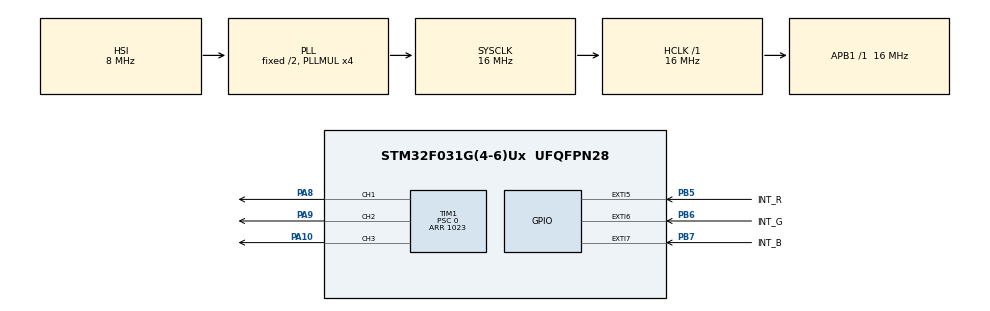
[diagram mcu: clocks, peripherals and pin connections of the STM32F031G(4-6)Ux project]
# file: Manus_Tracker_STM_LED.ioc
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Dma.Request0=TIM3_CH1/TRIG
Dma.Request1=TIM3_CH3
Dma.Request2=TIM3_CH4/UP
Dma.TIM3_CH1/TRIG.0.Direction=DMA_MEMORY_TO_PERIPH
Dma.TIM3_CH1/TRIG.0.Instance=DMA1_Channel4
Dma.TIM3_CH1/TRIG.0.MemDataAlignment=DMA_MDATAALIGN_WORD
Dma.TIM3_CH1/TRIG.0.MemInc=DMA_MINC_ENABLE
Dma.TIM3_CH1/TRIG.0.Mode=DMA_CIRCULAR
Dma.TIM3_CH1/TRIG.0.PeriphDataAlignment=DMA_PDATAALIGN_WORD
Dma.TIM3_CH1/TRIG.0.PeriphInc=DMA_PINC_DISABLE
Dma.TIM3_CH1/TRIG.0.Priority=DMA_PRIORITY_HIGH
Dma.TIM3_CH3.1.Direction=DMA_MEMORY_TO_PERIPH
Dma.TIM3_CH3.1.Instance=DMA1_Channel2
Dma.TIM3_CH3.1.MemDataAlignment=DMA_MDATAALIGN_WORD
Dma.TIM3_CH3.1.MemInc=DMA_MINC_ENABLE
Dma.TIM3_CH3.1.Mode=DMA_CIRCULAR
Dma.TIM3_CH3.1.PeriphDataAlignment=DMA_PDATAALIGN_WORD
Dma.TIM3_CH3.1.PeriphInc=DMA_PINC_DISABLE
Dma.TIM3_CH3.1.Priority=DMA_PRIORITY_HIGH
Dma.TIM3_CH4/UP.2.Direction=DMA_MEMORY_TO_PERIPH
Dma.TIM3_CH4/UP.2.Instance=DMA1_Channel3
Dma.TIM3_CH4/UP.2.MemDataAlignment=DMA_MDATAALIGN_WORD
Dma.TIM3_CH4/UP.2.MemInc=DMA_MINC_ENABLE
Dma.TIM3_CH4/UP.2.Mode=DMA_CIRCULAR
Dma.TIM3_CH4/UP.2.PeriphDataAlignment=DMA_PDATAALIGN_WORD
Dma.TIM3_CH4/UP.2.PeriphInc=DMA_PINC_DISABLE
Dma.TIM3_CH4/UP.2.Priority=DMA_PRIORITY_HIGH
Mcu.Family=STM32F0
Mcu.Name=STM32F031G(4-6)Ux
Mcu.Package=UFQFPN28
NVIC.DMA1_Channel2_3_IRQn=true\:0\:0\:false\:false\:true\:false\:true
NVIC.DMA1_Channel4_5_IRQn=true\:0\:0\:false\:false\:true\:false\:true
NVIC.EXTI4_15_IRQn=true\:0\:0\:false\:false\:true\:true\:true
NVIC.TIM14_IRQn=true\:0\:0\:false\:false\:true\:true\:true
PA10.Signal=S_TIM1_CH3
PA13.Mode=Serial_Wire
PA13.Signal=SYS_SWDIO
PA14.Mode=Serial_Wire
PA14.Signal=SYS_SWCLK
PA8.Signal=S_TIM1_CH1
PA9.Signal=S_TIM1_CH2
PB5.GPIO_Label=INT_R
PB5.GPIO_ModeDefaultEXTI=GPIO_MODE_IT_RISING_FALLING
PB5.GPIO_PuPd=GPIO_PULLUP
PB5.Signal=GPXTI5
PB6.GPIO_Label=INT_G
PB6.GPIO_ModeDefaultEXTI=GPIO_MODE_IT_RISING_FALLING
PB6.GPIO_PuPd=GPIO_PULLUP
PB6.Signal=GPXTI6
PB7.GPIO_Label=INT_B
PB7.GPIO_ModeDefaultEXTI=GPIO_MODE_IT_RISING_FALLING
PB7.GPIO_PuPd=GPIO_PULLUP
PB7.Signal=GPXTI7
ProjectManager.HeapSize=0x200
ProjectManager.StackSize=0x400
ProjectManager.TargetToolchain=Makefile
RCC.AHBFreq_Value=16000000
RCC.APB1Freq_Value=16000000
RCC.APB1TimFreq_Value=16000000
RCC.HCLKFreq_Value=16000000
RCC.PLLMUL=RCC_PLL_MUL4
RCC.SYSCLKFreq_VALUE=16000000
RCC.SYSCLKSource=RCC_SYSCLKSOURCE_PLLCLK
SH.S_TIM1_CH1.0=TIM1_CH1,PWM Generation1 CH1
SH.S_TIM1_CH2.0=TIM1_CH2,PWM Generation2 CH2
SH.S_TIM1_CH3.0=TIM1_CH3,PWM Generation3 CH3
TIM1.AutoReloadPreload=TIM_AUTORELOAD_PRELOAD_ENABLE
TIM1.Channel-PWM\ Generation1\ CH1=TIM_CHANNEL_1
TIM1.Channel-PWM\ Generation2\ CH2=TIM_CHANNEL_2
TIM1.Channel-PWM\ Generation3\ CH3=TIM_CHANNEL_3
TIM1.OCIdleState_1=TIM_OCIDLESTATE_SET
TIM1.OCIdleState_2=TIM_OCIDLESTATE_SET
TIM1.OCIdleState_3=TIM_OCIDLESTATE_SET
TIM1.OCPolarity_1=TIM_OCPOLARITY_HIGH
TIM1.OCPolarity_2=TIM_OCPOLARITY_HIGH
TIM1.OCPolarity_3=TIM_OCPOLARITY_HIGH
TIM1.Period=1023
TIM1.Prescaler=0
TIM14.Channel=TIM_CHANNEL_1
TIM14.Period=500-1
TIM14.Prescaler=16000
TIM3.AutoReloadPreload=TIM_AUTORELOAD_PRELOAD_ENABLE
TIM3.Channel-Output\ Compare1\ No\ Output=TIM_CHANNEL_1
TIM3.Channel-Output\ Compare3\ No\ Output=TIM_CHANNEL_3
TIM3.Channel-Output\ Compare4\ No\ Output=TIM_CHANNEL_4
TIM3.Period=9600-1
VP_TIM14_VS_ClockSourceINT.Mode=Enable_Timer
VP_TIM14_VS_no_output1.Mode=Output Compare1 No Output
VP_TIM3_VS_ClockSourceINT.Mode=Internal
VP_TIM3_VS_no_output1.Mode=Output Compare1 No Output
VP_TIM3_VS_no_output3.Mode=Output Compare3 No Output
VP_TIM3_VS_no_output4.Mode=Output Compare4 No Output
board=custom

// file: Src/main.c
/* USER CODE BEGIN Header */
/**
  ******************************************************************************
  * @file           : main.c
  * @brief          : Main program body
  ******************************************************************************
  * @attention
  *
  * <h2><center>&copy; Copyright (c) 2020 STMicroelectronics.
  * All rights reserved.</center></h2>
  *
  * This software component is licensed by ST under BSD 3-Clause license,
  * the "License"; You may not use this file except in compliance with the
  * License. You may obtain a copy of the License at:
  *                        opensource.org/licenses/BSD-3-Clause
  *
  ******************************************************************************
  */
/* USER CODE END Header */

#include "main.h"
#include "dma.h"
#include "tim.h"
#include "gpio.h"

/* USER CODE BEGIN Includes */
#include "states.h"

//#define LEDPASSTHROUGH

uint16_t f_updateLed = 0;
uint8_t read_r = 0;
uint8_t read_g = 0;
uint8_t read_b = 0;
static uint8_t g_trackerState = TRACKER_ON;
uint8_t g_oldTrackerState = TRACKER_ON;
uint32_t lastIT = 0;
uint32_t currentIT = 0;
uint16_t timeThreshold = 500;

uint32_t dma_Blue_Destination = (uint32_t) &(TIM1->CCR1);
uint32_t dma_Green_Destination = (uint32_t) &(TIM1->CCR2);
uint32_t dma_Red_Destination = (uint32_t) &(TIM1->CCR3);
/* USER CODE END Includes */

void SystemClock_Config(void);

int main(void)
{

  /* MCU Configuration--------------------------------------------------------*/

  /* Reset of all peripherals, Initializes the Flash interface and the Systick. */
  HAL_Init();

  /* Configure the system clock */
  SystemClock_Config();

  /* Initialize all configured peripherals */
  MX_GPIO_Init();
  MX_DMA_Init();
  MX_TIM1_Init();
  MX_TIM3_Init();
  MX_TIM14_Init();
  /* USER CODE BEGIN 2 */
  HAL_TIM_PWM_Start(&htim1, TIM_CHANNEL_1);
  HAL_TIM_PWM_Start(&htim1, TIM_CHANNEL_2);
  HAL_TIM_PWM_Start(&htim1, TIM_CHANNEL_3);
  HAL_TIM_OC_Start(&htim3,TIM_CHANNEL_1);
  HAL_DMA_Start_IT(&hdma_tim3_ch1_trig,(uint32_t)BreathingLookup,dma_Blue_Destination,512);
  HAL_DMA_Start_IT(&hdma_tim3_ch3,(uint32_t)BreathingLookup,dma_Green_Destination,512);
  HAL_DMA_Start_IT(&hdma_tim3_ch4_up,(uint32_t)BreathingLookup,dma_Red_Destination,512);
  //__HAL_TIM_ENABLE_DMA(&htim3,TIM_DMA_CC1);
  //__HAL_TIM_ENABLE_DMA(&htim3,TIM_DMA_CC3);
  //__HAL_TIM_ENABLE_DMA(&htim3,TIM_DMA_CC4);

  /* USER CODE END 2 */

  /* Infinite loop */
  /* USER CODE BEGIN WHILE */
  setRGB(1024,1024,1024);
  __HAL_TIM_ENABLE_DMA(&htim3,TIM_DMA_CC1);
  __HAL_TIM_ENABLE_DMA(&htim3,TIM_DMA_CC3);
  HAL_Delay(2000);

  timeThreshold = 0;
  HAL_GPIO_EXTI_Callback(GPIO_PIN_1);
  timeThreshold = 250;
  while (1)
  {
    /* USER CODE END WHILE */

    /* USER CODE BEGIN 3 */
    #ifdef LEDPASSTHROUGH
      if (f_updateLed){
      setRGB(1023,1023,1023);
      if(!read_b){
        setBlue(255);
      }
      if(!read_r){
        setRed(255);
      }
      if(!read_g){
        setGreen(255);
      }
      f_updateLed = 0;
    }
    #else
      if(f_updateLed){
        //setRGB(1023,1023,1023);
        switch(g_trackerState){
          case TRACKER_PAIRING:
            setRGB(1024,1024,1024);
            resetDMAIT((uint32_t)BlinkLookup);
            __HAL_TIM_ENABLE_DMA(&htim3,TIM_DMA_CC1);
            __HAL_TIM_ENABLE_DMA(&htim3,TIM_DMA_CC3);
            __HAL_TIM_ENABLE_DMA(&htim3,TIM_DMA_CC4);
          break;
          case TRACKER_CONNECTED:
            __HAL_TIM_DISABLE_DMA(&htim3,TIM_DMA_CC1);
            __HAL_TIM_DISABLE_DMA(&htim3,TIM_DMA_CC3);
            __HAL_TIM_DISABLE_DMA(&htim3,TIM_DMA_CC4);
            setRGB(1024,100,100);
          break;
          case TRACKER_ON:
            setRGB(1024,1024,1024);
            resetDMAIT((uint32_t)BreathingLookup);
            __HAL_TIM_DISABLE_DMA(&htim3,TIM_DMA_CC1);
            __HAL_TIM_DISABLE_DMA(&htim3,TIM_DMA_CC3);
            __HAL_TIM_DISABLE_DMA(&htim3,TIM_DMA_CC4);
            __HAL_TIM_ENABLE_DMA(&htim3,TIM_DMA_CC1);
            __HAL_TIM_ENABLE_DMA(&htim3,TIM_DMA_CC3);
          break;
          case TRACKER_NOT_CONNECTED:
            __HAL_TIM_DISABLE_DMA(&htim3,TIM_DMA_CC1);
            __HAL_TIM_DISABLE_DMA(&htim3,TIM_DMA_CC3);
            __HAL_TIM_DISABLE_DMA(&htim3,TIM_DMA_CC4);
            setRGB(100,100,100);
          break;
        }
      f_updateLed = 0;
      }
    #endif
    __WFI();
  }
  /* USER CODE END 3 */
}

void SystemClock_Config(void)
{
  RCC_OscInitTypeDef RCC_OscInitStruct = {0};
  RCC_ClkInitTypeDef RCC_ClkInitStruct = {0};

  /** Initializes the CPU, AHB and APB busses clocks
  */
  RCC_OscInitStruct.OscillatorType = RCC_OSCILLATORTYPE_HSI;
  RCC_OscInitStruct.HSIState = RCC_HSI_ON;
  RCC_OscInitStruct.HSICalibrationValue = RCC_HSICALIBRATION_DEFAULT;
  RCC_OscInitStruct.PLL.PLLState = RCC_PLL_ON;
  RCC_OscInitStruct.PLL.PLLSource = RCC_PLLSOURCE_HSI;
  RCC_OscInitStruct.PLL.PLLMUL = RCC_PLL_MUL4;
  RCC_OscInitStruct.PLL.PREDIV = RCC_PREDIV_DIV1;
  if (HAL_RCC_OscConfig(&RCC_OscInitStruct) != HAL_OK)
  {
    Error_Handler();
  }
  /** Initializes the CPU, AHB and APB busses clocks
  */
  RCC_ClkInitStruct.ClockType = RCC_CLOCKTYPE_HCLK|RCC_CLOCKTYPE_SYSCLK
                              |RCC_CLOCKTYPE_PCLK1;
  RCC_ClkInitStruct.SYSCLKSource = RCC_SYSCLKSOURCE_PLLCLK;
  RCC_ClkInitStruct.AHBCLKDivider = RCC_SYSCLK_DIV1;
  RCC_ClkInitStruct.APB1CLKDivider = RCC_HCLK_DIV1;

  if (HAL_RCC_ClockConfig(&RCC_ClkInitStruct, FLASH_LATENCY_0) != HAL_OK)
  {
    Error_Handler();
  }
}

/* USER CODE BEGIN 4 */
void HAL_GPIO_EXTI_Callback(uint16_t Pin)
{
  g_oldTrackerState = g_trackerState;
  currentIT = HAL_GetTick();
  uint32_t deltaTimeIT = currentIT - lastIT;
  read_r = HAL_GPIO_ReadPin(GPIOB,GPIO_PIN_7);
  read_g = HAL_GPIO_ReadPin(GPIOB,GPIO_PIN_6);
  read_b = HAL_GPIO_ReadPin(GPIOB,GPIO_PIN_5);

  if(deltaTimeIT <= timeThreshold)
  {
    HAL_TIM_Base_Stop_IT(&htim14);
    HAL_TIM_Base_Start_IT(&htim14);
    if (read_b == 0 && read_r && read_g){
    g_trackerState = TRACKER_PAIRING;
    }
    else if (read_b && read_g && read_r){
      g_trackerState = TRACKER_PAIRING;
    }
  }
  else
  {
    if(read_g == 0 && read_r && read_b)
    {
      g_trackerState = TRACKER_CONNECTED;
    }
    else if(read_b == 0 && read_r && read_g )
    {
      g_trackerState = TRACKER_NOT_CONNECTED;
    }
    else if (read_b && read_g && read_r ){
      g_trackerState = TRACKER_ON;
    }
  }

  lastIT = currentIT;
  if(g_oldTrackerState != g_trackerState)
  {
      f_updateLed = 1;
  }
}

void resetDMAIT(uint32_t lookupTable){
  HAL_DMA_Abort_IT(&hdma_tim3_ch1_trig);
  HAL_DMA_Abort_IT(&hdma_tim3_ch3);
  HAL_DMA_Abort_IT(&hdma_tim3_ch4_up);
  HAL_DMA_Start_IT(&hdma_tim3_ch1_trig,(uint32_t)lookupTable,dma_Blue_Destination,512);
  HAL_DMA_Start_IT(&hdma_tim3_ch3,(uint32_t)lookupTable,dma_Green_Destination,512);
  HAL_DMA_Start_IT(&hdma_tim3_ch4_up,(uint32_t)lookupTable,dma_Red_Destination,512);
}
/* USER CODE END 4 */

void Error_Handler(void)
{
}

/************************ (C) COPYRIGHT STMicroelectronics *****END OF FILE****/
